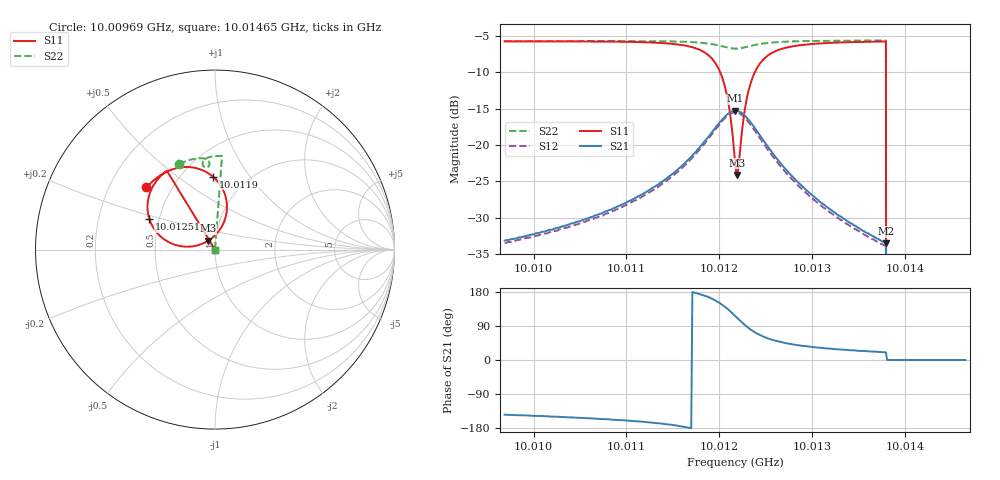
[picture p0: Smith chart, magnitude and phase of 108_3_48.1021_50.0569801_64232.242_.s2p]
#  HZ  S  RI  R  50.00
! Rohde & Schwarz Vector Network Analyzer
! Rohde-Schwarz,ZNB20-2Port,1311601062101988,3.16
! Created: UTC 12/23/2023, 3:45:28 AM
! freq[Hz]  re:S11  im:S11  re:S21  im:S21  re:S12  im:S12  re:S22  im:S22
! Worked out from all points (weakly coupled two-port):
!   401 points, 10.00969 GHz to 10.01465 GHz, reference 50 ohm
!   highest |S21| = -15.28 dB at 10.01217 GHz (marker M1); lowest = -33.5 dB at 10.0138 GHz (marker M2)
!   lowest |S11| = -24.1 dB at 10.0122 GHz (marker M3), VSWR 1.13, Z = 46.1 + j4.54 ohm
!   |S11| at or under -10 dB: 10.01201 GHz to 10.01238 GHz (373.5 kHz wide, 0.00373 % of centre); 10.0138 GHz to end of sweep
!   |S22| runs from - to -5.6 dB; largest |S21 - S12| = 0.0084
!   S11 on the Smith chart (normalised r, x): 10.00969 GHz: 0.36, +0.34; 10.0119 GHz: 0.70, +0.68; 10.01251 GHz: 0.44, +0.18; 10.01465 GHz: 1.00, +0.00
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1.0009688e10  -0.3818 0.3462  -0.0179 -0.0129  -0.0166 -0.0133  -0.2003 0.4779
1.001052e10  -0.3264 0.3982  -0.027 -0.0138  -0.0254 -0.0146  -0.1478 0.4975
1.0010942e10  -0.2854 0.4255  -0.0361 -0.014  -0.0339 -0.0151  -0.1192 0.5047
1.0011351e10  -0.2228 0.4514  -0.0526 -0.0122  -0.0502 -0.0143  -0.0884 0.509
1.0011711e10  -0.1143 0.4557  -0.0847 0.00102  -0.0818 -0.00334  -0.056 0.5059
1.0011897e10  -0.0122 0.407  -0.1127 0.0309  -0.1109 0.0243  -0.0374 0.4947
1.0011984e10  0.0409 0.3407  -0.1233 0.0616  -0.123 0.0536  -0.0313 0.4839
1.0012059e10  0.0663 0.2477  -0.1217 0.0979  -0.123 0.0903  -0.0312 0.4713
1.0012108e10  0.0561 0.1701  -0.1087 0.1257  -0.111 0.1186  -0.0357 0.4635
1.001217e10  -0.00193 0.0773  -0.0767 0.1541  -0.0809 0.1471  -0.0459 0.4576
1.0012195e10  -0.0385 0.0491  -0.0603 0.1607  -0.065 0.154  -0.051 0.4573
1.001222e10  -0.0795 0.0292  -0.0434 0.1638  -0.0477 0.1577  -0.0557 0.4583
1.001227e10  -0.1638 0.0162  -0.0105 0.1606  -0.0152 0.155  -0.0638 0.4635
1.0012319e10  -0.2378 0.0323  0.016 0.1477  0.0107 0.1426  -0.0683 0.4715
1.0012394e10  -0.3145 0.0845  0.0404 0.1218  0.0345 0.1179  -0.0689 0.4837
1.0012505e10  -0.3654 0.17  0.0525 0.0867  0.047 0.0845  -0.062 0.4975
1.0012716e10  -0.3723 0.2798  0.0487 0.0478  0.0443 0.0476  -0.0432 0.5113
1.0013002e10  -0.3443 0.3555  0.0374 0.0256  0.0343 0.026  -0.0189 0.5184
1.0013771e10  -0.2705 0.4379  0.0201 0.00758  0.0188 0.00819  0.0375 0.5216
1.0013796e10  -0.2683 0.4396  0.0198 0.00732  0.0185 0.00812  0.0393 0.5214
1.0013833e10  0 0  0 0  0 0  0 0
1.0014652e10  0 0  0 0  0 0  0 0
